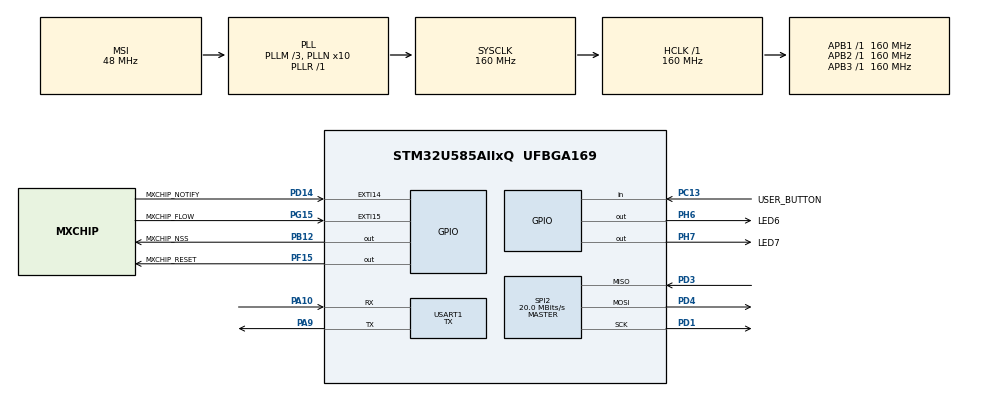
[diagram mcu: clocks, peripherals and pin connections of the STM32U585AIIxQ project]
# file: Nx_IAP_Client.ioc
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CORTEX_M33_NS.userName=CORTEX_M33
GPDMA1.DESTINC_GPDMACH4=DMA_DINC_INCREMENTED
GPDMA1.DIRECTION_GPDMACH5=DMA_MEMORY_TO_PERIPH
GPDMA1.IPHANDLE_GPDMACH4-SIMPLEREQUEST_GPDMACH4=__NULL
GPDMA1.IPHANDLE_GPDMACH5-SIMPLEREQUEST_GPDMACH5=__NULL
GPDMA1.PRIORITY_GPDMACH4=DMA_LOW_PRIORITY_HIGH_WEIGHT
GPDMA1.PRIORITY_GPDMACH5=DMA_LOW_PRIORITY_HIGH_WEIGHT
GPDMA1.REQUEST_GPDMACH4=GPDMA1_REQUEST_SPI2_RX
GPDMA1.REQUEST_GPDMACH5=GPDMA1_REQUEST_SPI2_TX
GPDMA1.SRCINC_GPDMACH5=DMA_SINC_INCREMENTED
GPDMA1.TRANSFERALLOCATEDPORTDEST_GPDMACH4=DMA_DEST_ALLOCATED_PORT1
GPDMA1.TRANSFERALLOCATEDPORTDEST_GPDMACH5=DMA_DEST_ALLOCATED_PORT1
GPDMA1.TRANSFERALLOCATEDPORTSRC_GPDMACH4=DMA_SRC_ALLOCATED_PORT0
GPDMA1.TRANSFERALLOCATEDPORTSRC_GPDMACH5=DMA_SRC_ALLOCATED_PORT0
Mcu.Family=STM32U5
Mcu.Name=STM32U585AIIxQ
Mcu.Package=UFBGA169
NETXDUO.NX_APP_MEM_POOL_SIZE=(80 * 1024)
NETXDUO.NX_DHCP_THREAD_PRIORITY=(NETX_IP_THREAD_PRIORITY + 1)
NETXDUO.NX_DISABLE_LOOPBACK_INTERFACE=true
NETXDUO.NX_DRIVER_DEFERRED_PROCESSING=true
NETXDUO.NX_ENABLE_EXTENDED_NOTIFY_SUPPORT=true
NETXDUO.NX_IP_PERIODIC_RATE=1000
NETXDUO.NX_PHYSICAL_HEADER=44
NVIC.EXTI14_IRQn=true\:2\:0\:true\:false\:true\:false\:true\:true\:true
NVIC.EXTI15_IRQn=true\:2\:0\:true\:false\:true\:false\:true\:true\:true
NVIC.GPDMA1_Channel4_IRQn=true\:2\:0\:true\:false\:true\:true\:true\:true\:true
NVIC.GPDMA1_Channel5_IRQn=true\:2\:0\:true\:false\:true\:true\:true\:true\:true
NVIC.PriorityGroup=NVIC_PRIORITYGROUP_4
NVIC.SPI2_IRQn=true\:2\:0\:true\:false\:true\:false\:true\:true\:true
NVIC.TIM6_IRQn=true\:0\:0\:true\:false\:true\:false\:false\:true\:true
NVIC.TimeBase=TIM6_IRQn
NVIC.TimeBaseIP=TIM6
PA10.Mode=Asynchronous
PA10.Signal=USART1_RX
PA13\ (JTMS/SWDIO).Mode=Trace_Asynchronous_SW
PA13\ (JTMS/SWDIO).Signal=DEBUG_JTMS-SWDIO
PA14\ (JTCK/SWCLK).Mode=Trace_Asynchronous_SW
PA14\ (JTCK/SWCLK).Signal=DEBUG_JTCK-SWCLK
PA9.Mode=Asynchronous
PA9.Signal=USART1_TX
PB12.GPIO_Label=MXCHIP_NSS
PB12.GPIO_Speed=GPIO_SPEED_FREQ_HIGH
PB12.PinState=GPIO_PIN_SET
PB12.Signal=GPIO_Output
PB3\ (JTDO/TRACESWO).Mode=Trace_Asynchronous_SW
PB3\ (JTDO/TRACESWO).Signal=DEBUG_JTDO-SWO
PC13.GPIO_Label=USER_BUTTON
PC13.Signal=GPIO_Input
PD1.GPIO_Speed=GPIO_SPEED_FREQ_HIGH
PD1.Mode=Full_Duplex_Master
PD1.Signal=SPI2_SCK
PD14.GPIO_Label=MXCHIP_NOTIFY
PD14.Signal=GPXTI14
PD3.GPIO_Speed=GPIO_SPEED_FREQ_HIGH
PD3.Mode=Full_Duplex_Master
PD3.Signal=SPI2_MISO
PD4.GPIO_Speed=GPIO_SPEED_FREQ_HIGH
PD4.Mode=Full_Duplex_Master
PD4.Signal=SPI2_MOSI
PF15.GPIO_Label=MXCHIP_RESET
PF15.Signal=GPIO_Output
PG15.GPIO_Label=MXCHIP_FLOW
PG15.GPIO_ModeDefaultEXTI=GPIO_MODE_IT_RISING
PG15.Signal=GPXTI15
PH6.GPIO_Label=LED6
PH6.GPIO_PuPd=GPIO_NOPULL
PH6.GPIO_Speed=GPIO_SPEED_FREQ_HIGH
PH6.PinState=GPIO_PIN_SET
PH6.Signal=GPIO_Output
PH7.GPIO_Label=LED7
PH7.GPIO_PuPd=GPIO_NOPULL
PH7.GPIO_Speed=GPIO_SPEED_FREQ_HIGH
PH7.PinState=GPIO_PIN_SET
PH7.Signal=GPIO_Output
PWR.PowerMode=PWR_SMPS_SUPPLY
ProjectManager.HeapSize=0x2000
ProjectManager.StackSize=0x2000
ProjectManager.TargetToolchain=EWARM V8.50
RCC.ADCFreq_Value=16000000
RCC.AHBFreq_Value=160000000
RCC.APB1Freq_Value=160000000
RCC.APB1TimFreq_Value=160000000
RCC.APB2Freq_Value=160000000
RCC.APB2TimFreq_Value=160000000
RCC.APB3Freq_Value=160000000
RCC.CortexFreq_Value=160000000
RCC.DACCLockSelectionVirtual=RCC_DAC1CLKSOURCE_LSI
RCC.EPOD_VALUE=48000000
RCC.HCLKFreq_Value=160000000
RCC.HSE_VALUE=16000000
RCC.HSI48_VALUE=48000000
RCC.HSI_VALUE=16000000
RCC.LSE_VALUE=32768
RCC.LSIDIV_VALUE=32000
RCC.MSIClockRange=RCC_MSIRANGE_0
RCC.MSI_VALUE=48000000
RCC.PLL1R=1
RCC.PLLFRACN=0
RCC.PLLM=3
RCC.PLLN=10
RCC.SPI2CLockSelection=RCC_SPI2CLKSOURCE_PCLK1
RCC.SYSCLKFreq_VALUE=160000000
RCC.SYSCLKSource=RCC_SYSCLKSOURCE_PLLCLK
RCC.USBFreq_Value=48000000
RCC.VCOOutputFreq_Value=160000000
SPI2.BaudRatePrescaler=SPI_BAUDRATEPRESCALER_8
SPI2.CalculateBaudRate=20.0 MBits/s
SPI2.DataSize=SPI_DATASIZE_8BIT
SPI2.Direction=SPI_DIRECTION_2LINES
SPI2.Mode=SPI_MODE_MASTER
SPI2.NSSPMode=SPI_NSS_PULSE_DISABLE
SPI2.VirtualType=VM_MASTER
THREADX.TX_APP_MEM_POOL_SIZE=(2 * 1024)
THREADX.TX_MINIMUM_STACK=400
THREADX.TX_TIMER_TICKS_PER_SECOND=1000
USART1.Mode=MODE_TX
USART1.VirtualMode-Asynchronous=VM_ASYNC
VP_GPDMA1_VS_GPDMACH4.Mode=SIMPLEREQUEST_GPDMACH4
VP_GPDMA1_VS_GPDMACH5.Mode=SIMPLEREQUEST_GPDMACH5
VP_ICACHE_VS_ICACHE.Mode=DirectMappedCache
VP_LPBAMQUEUE_VS_QUEUE.Mode=QUEUEMODE
VP_LPBAM_VS_SIG1.Mode=SmartRun
VP_LPBAM_VS_SIG4.Mode=LPDMA1
VP_NETXDUO_VS_AddonsOoDHCP.Mode=Addons_DHCP_Client
VP_NETXDUO_VS_NXOoCore.Mode=NX_Core
VP_PWR_VS_DBSignals.Mode=DisableDeadBatterySignals
VP_PWR_VS_LPOM.Mode=PowerOptimisation
VP_PWR_VS_SECSignals.Mode=Security/Privilege
VP_RNG_VS_RNG.Mode=RNG_Activate
VP_SYS_VS_tim6.Mode=TIM6
VP_THREADX_VS_RTOSJjThreadXJjCoreJjDefault.Mode=Core_Default
board=custom

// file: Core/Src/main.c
/* USER CODE BEGIN Header */
/**
  ******************************************************************************
  * @file           : main.c
  * @brief          : Main program body
  ******************************************************************************
  * @attention
  *
  * Copyright (c) 2022 STMicroelectronics.
  * All rights reserved.
  *
  * This software is licensed under terms that can be found in the LICENSE file
  * in the root directory of this software component.
  * If no LICENSE file comes with this software, it is provided AS-IS.
  *
  ******************************************************************************
  */
/* USER CODE END Header */
#include "app_threadx.h"
#include "main.h"

/* USER CODE BEGIN Includes */
#include <stdio.h>
#include <stdlib.h>
#include <string.h>
#include <stdint.h>
#include <inttypes.h>
#include "msg.h"
#include "flash_if.h"
#if defined(__ICCARM__)
#include <LowLevelIOInterface.h>
#endif /* (__ICCARM__) */

#include "nx_driver_emw3080.h"

#include "io_pattern/mx_wifi_io.h"
/* USER CODE END Includes */

RNG_HandleTypeDef hrng;

SPI_HandleTypeDef hspi2;
DMA_HandleTypeDef handle_GPDMA1_Channel5;
DMA_HandleTypeDef handle_GPDMA1_Channel4;

UART_HandleTypeDef huart1;

/* USER CODE BEGIN PV */
typedef void (*pFunction)(void);
pFunction Jump_To_Application;
uint32_t JumpAddress;
/* USER CODE END PV */

void SystemClock_Config(void);
static void SystemPower_Config(void);
static void MX_GPIO_Init(void);
static void MX_GPDMA1_Init(void);
static void MX_ICACHE_Init(void);
static void MX_USART1_UART_Init(void);
static void MX_SPI2_Init(void);
static void MX_RNG_Init(void);

int main(void)
{

  /* MCU Configuration--------------------------------------------------------*/

  /* Reset of all peripherals, Initializes the Flash interface and the Systick. */
  HAL_Init();

  /* Configure the System Power */
  SystemPower_Config();

  /* Configure the system clock */
  SystemClock_Config();

  /* Initialize all configured peripherals */
  MX_GPIO_Init();
  MX_GPDMA1_Init();
  MX_ICACHE_Init();
  MX_USART1_UART_Init();
  MX_SPI2_Init();
  MX_RNG_Init();
  /* USER CODE BEGIN 2 */
  {
    {
      char welcome[] = "Welcome\n";
      uint16_t welcome_size = (uint16_t)strlen(welcome);
      HAL_UART_Transmit(&huart1, (uint8_t*)welcome, welcome_size, 0xFFFF);
    }
  }

  /* Force no buffer for the printf() usage. */
  setbuf(stdout, NULL);

  {
    char the_compiler[100] = {0};

#if defined(__GNUC__)
    strcat(the_compiler, " __GNUC__");
#endif /* __GNUC__ */
#if defined(__clang__)
    strcat(the_compiler, " __clang__");
#endif /* __clang__ */
#if defined(__ICCARM__)
    strcat(the_compiler, " __ICCARM__");
#endif /* __ICCARM__ */
#if defined(__ARMCC_VERSION)
    strcat(the_compiler, " __ARMCC_VERSION ");
    sprintf(&the_compiler[strlen(the_compiler)], "(%d)", __ARMCC_VERSION);
#endif /* __ARMCC_VERSION */
#if defined(__MICROLIB)
    strcat(the_compiler, " __MICROLIB");
#endif /* __MICROLIB */

    {
      const uint32_t start_counting = HAL_GetTick();
      static __IO uint32_t count = 0;
      for (__IO uint32_t i = 0; i < 1600000; i++)
      {
        count++;
      }
      {
        const uint32_t end_counting = HAL_GetTick();
        printf("\n[%" PRIu32 "] main(): %s %s  (%s)   : %" PRIu32 " ms for %" PRIu32 " loops\n\n",
               end_counting, __DATE__, __TIME__, the_compiler, end_counting - start_counting, count);
      }
    }
  }

  {
    int random_number = hardware_rand();

    /* Initialize the seed of the stdlib rand() software implementation. */
    srand((unsigned)random_number);
    printf("rand() seeded by %" PRId32 " returned %" PRId32 "\n\n", (int32_t)random_number, (int32_t)rand());
  }

  /* LED6 and LED7 are already initialized. */
  /* Key Button is already initialized. */

  /* Test if Key Tamper-button on B-U585I-IOT02A Board is not pressed. */
  if (HAL_GPIO_ReadPin(USER_BUTTON_GPIO_Port, USER_BUTTON_Pin) == 0x00)
  {
    /* Key Tamper -button not pressed: jump to user application. */

    /* Check if valid stack address (RAM address) then jump to user application. */
    const uint32_t stack_pointer = *(__IO uint32_t *)(USER_FLASH_START_ADDRESS);
    const uint32_t code_pointer  = *(__IO uint32_t *)(USER_FLASH_START_ADDRESS + 4);
    if ((stack_pointer & 0x2FFFE000) == 0x20002000)
    {
      /* Jump to the user application (its Reset_Handler) */
      JumpAddress = code_pointer;
      Jump_To_Application = (pFunction) JumpAddress;

      printf("sp: 0x%" PRIX32 " pc: 0x%" PRIX32 "\n", stack_pointer, code_pointer);

      /* Vector Table Relocation in Internal FLASH */
      SCB->VTOR = USER_FLASH_START_ADDRESS;

      /* Initialize user application's Stack Pointer */
      __set_MSP(stack_pointer);
      Jump_To_Application();
    }
  }
  /* USER CODE END 2 */

  MX_ThreadX_Init();

  /* We should never get here as control is now taken by the scheduler */

  /* Infinite loop */
  while (1)
  {

  }
}

void SystemClock_Config(void)
{
  RCC_OscInitTypeDef RCC_OscInitStruct = {0};
  RCC_ClkInitTypeDef RCC_ClkInitStruct = {0};

  /** Configure the main internal regulator output voltage
  */
  if (HAL_PWREx_ControlVoltageScaling(PWR_REGULATOR_VOLTAGE_SCALE1) != HAL_OK)
  {
    Error_Handler();
  }

  /** Initializes the CPU, AHB and APB buses clocks
  */
  RCC_OscInitStruct.OscillatorType = RCC_OSCILLATORTYPE_HSI48|RCC_OSCILLATORTYPE_MSI;
  RCC_OscInitStruct.HSI48State = RCC_HSI48_ON;
  RCC_OscInitStruct.MSIState = RCC_MSI_ON;
  RCC_OscInitStruct.MSICalibrationValue = RCC_MSICALIBRATION_DEFAULT;
  RCC_OscInitStruct.MSIClockRange = RCC_MSIRANGE_0;
  RCC_OscInitStruct.PLL.PLLState = RCC_PLL_ON;
  RCC_OscInitStruct.PLL.PLLSource = RCC_PLLSOURCE_MSI;
  RCC_OscInitStruct.PLL.PLLMBOOST = RCC_PLLMBOOST_DIV4;
  RCC_OscInitStruct.PLL.PLLM = 3;
  RCC_OscInitStruct.PLL.PLLN = 10;
  RCC_OscInitStruct.PLL.PLLP = 2;
  RCC_OscInitStruct.PLL.PLLQ = 2;
  RCC_OscInitStruct.PLL.PLLR = 1;
  RCC_OscInitStruct.PLL.PLLRGE = RCC_PLLVCIRANGE_1;
  RCC_OscInitStruct.PLL.PLLFRACN = 0;
  if (HAL_RCC_OscConfig(&RCC_OscInitStruct) != HAL_OK)
  {
    Error_Handler();
  }

  /** Initializes the CPU, AHB and APB buses clocks
  */
  RCC_ClkInitStruct.ClockType = RCC_CLOCKTYPE_HCLK|RCC_CLOCKTYPE_SYSCLK
                              |RCC_CLOCKTYPE_PCLK1|RCC_CLOCKTYPE_PCLK2
                              |RCC_CLOCKTYPE_PCLK3;
  RCC_ClkInitStruct.SYSCLKSource = RCC_SYSCLKSOURCE_PLLCLK;
  RCC_ClkInitStruct.AHBCLKDivider = RCC_SYSCLK_DIV1;
  RCC_ClkInitStruct.APB1CLKDivider = RCC_HCLK_DIV1;
  RCC_ClkInitStruct.APB2CLKDivider = RCC_HCLK_DIV1;
  RCC_ClkInitStruct.APB3CLKDivider = RCC_HCLK_DIV1;

  if (HAL_RCC_ClockConfig(&RCC_ClkInitStruct, FLASH_LATENCY_4) != HAL_OK)
  {
    Error_Handler();
  }
}

/**
  * @brief Power Configuration
  * @retval None
  */
static void SystemPower_Config(void)
{
  HAL_PWREx_EnableVddIO2();

  /*
   * Disable the internal Pull-Up in Dead Battery pins of UCPD peripheral
   */
  HAL_PWREx_DisableUCPDDeadBattery();

  /*
   * Switch to SMPS regulator instead of LDO
   */
  if (HAL_PWREx_ConfigSupply(PWR_SMPS_SUPPLY) != HAL_OK)
  {
    Error_Handler();
  }
}

static void MX_GPDMA1_Init(void)
{

  /* Peripheral clock enable */
  __HAL_RCC_GPDMA1_CLK_ENABLE();

  /* GPDMA1 interrupt Init */
    HAL_NVIC_SetPriority(GPDMA1_Channel4_IRQn, 2, 0);
    HAL_NVIC_EnableIRQ(GPDMA1_Channel4_IRQn);
    HAL_NVIC_SetPriority(GPDMA1_Channel5_IRQn, 2, 0);
    HAL_NVIC_EnableIRQ(GPDMA1_Channel5_IRQn);

}

static void MX_ICACHE_Init(void)
{

  /** Enable instruction cache in 1-way (direct mapped cache)
  */
  if (HAL_ICACHE_ConfigAssociativityMode(ICACHE_1WAY) != HAL_OK)
  {
    Error_Handler();
  }
  if (HAL_ICACHE_Enable() != HAL_OK)
  {
    Error_Handler();
  }

}

static void MX_RNG_Init(void)
{

  hrng.Instance = RNG;
  hrng.Init.ClockErrorDetection = RNG_CED_ENABLE;
  if (HAL_RNG_Init(&hrng) != HAL_OK)
  {
    Error_Handler();
  }

}

static void MX_SPI2_Init(void)
{

  SPI_AutonomousModeConfTypeDef HAL_SPI_AutonomousMode_Cfg_Struct = {0};

  /* SPI2 parameter configuration*/
  hspi2.Instance = SPI2;
  hspi2.Init.Mode = SPI_MODE_MASTER;
  hspi2.Init.Direction = SPI_DIRECTION_2LINES;
  hspi2.Init.DataSize = SPI_DATASIZE_8BIT;
  hspi2.Init.CLKPolarity = SPI_POLARITY_LOW;
  hspi2.Init.CLKPhase = SPI_PHASE_1EDGE;
  hspi2.Init.NSS = SPI_NSS_SOFT;
  hspi2.Init.BaudRatePrescaler = SPI_BAUDRATEPRESCALER_8;
  hspi2.Init.FirstBit = SPI_FIRSTBIT_MSB;
  hspi2.Init.TIMode = SPI_TIMODE_DISABLE;
  hspi2.Init.CRCCalculation = SPI_CRCCALCULATION_DISABLE;
  hspi2.Init.CRCPolynomial = 0x7;
  hspi2.Init.NSSPMode = SPI_NSS_PULSE_DISABLE;
  hspi2.Init.NSSPolarity = SPI_NSS_POLARITY_LOW;
  hspi2.Init.FifoThreshold = SPI_FIFO_THRESHOLD_01DATA;
  hspi2.Init.MasterSSIdleness = SPI_MASTER_SS_IDLENESS_00CYCLE;
  hspi2.Init.MasterInterDataIdleness = SPI_MASTER_INTERDATA_IDLENESS_00CYCLE;
  hspi2.Init.MasterReceiverAutoSusp = SPI_MASTER_RX_AUTOSUSP_DISABLE;
  hspi2.Init.MasterKeepIOState = SPI_MASTER_KEEP_IO_STATE_DISABLE;
  hspi2.Init.IOSwap = SPI_IO_SWAP_DISABLE;
  hspi2.Init.ReadyMasterManagement = SPI_RDY_MASTER_MANAGEMENT_INTERNALLY;
  hspi2.Init.ReadyPolarity = SPI_RDY_POLARITY_HIGH;
  if (HAL_SPI_Init(&hspi2) != HAL_OK)
  {
    Error_Handler();
  }
  HAL_SPI_AutonomousMode_Cfg_Struct.TriggerState = SPI_AUTO_MODE_DISABLE;
  HAL_SPI_AutonomousMode_Cfg_Struct.TriggerSelection = SPI_GRP1_GPDMA_CH0_TCF_TRG;
  HAL_SPI_AutonomousMode_Cfg_Struct.TriggerPolarity = SPI_TRIG_POLARITY_RISING;
  if (HAL_SPIEx_SetConfigAutonomousMode(&hspi2, &HAL_SPI_AutonomousMode_Cfg_Struct) != HAL_OK)
  {
    Error_Handler();
  }

}

static void MX_USART1_UART_Init(void)
{

  huart1.Instance = USART1;
  huart1.Init.BaudRate = 115200;
  huart1.Init.WordLength = UART_WORDLENGTH_8B;
  huart1.Init.StopBits = UART_STOPBITS_1;
  huart1.Init.Parity = UART_PARITY_NONE;
  huart1.Init.Mode = UART_MODE_TX;
  huart1.Init.HwFlowCtl = UART_HWCONTROL_NONE;
  huart1.Init.OverSampling = UART_OVERSAMPLING_16;
  huart1.Init.OneBitSampling = UART_ONE_BIT_SAMPLE_DISABLE;
  huart1.Init.ClockPrescaler = UART_PRESCALER_DIV1;
  huart1.AdvancedInit.AdvFeatureInit = UART_ADVFEATURE_NO_INIT;
  if (HAL_UART_Init(&huart1) != HAL_OK)
  {
    Error_Handler();
  }
  if (HAL_UARTEx_SetTxFifoThreshold(&huart1, UART_TXFIFO_THRESHOLD_1_8) != HAL_OK)
  {
    Error_Handler();
  }
  if (HAL_UARTEx_SetRxFifoThreshold(&huart1, UART_RXFIFO_THRESHOLD_1_8) != HAL_OK)
  {
    Error_Handler();
  }
  if (HAL_UARTEx_DisableFifoMode(&huart1) != HAL_OK)
  {
    Error_Handler();
  }

}

static void MX_GPIO_Init(void)
{
  GPIO_InitTypeDef GPIO_InitStruct = {0};

  /* GPIO Ports Clock Enable */
  __HAL_RCC_GPIOG_CLK_ENABLE();
  __HAL_RCC_GPIOD_CLK_ENABLE();
  __HAL_RCC_GPIOA_CLK_ENABLE();
  __HAL_RCC_GPIOB_CLK_ENABLE();
  __HAL_RCC_GPIOC_CLK_ENABLE();
  __HAL_RCC_GPIOH_CLK_ENABLE();
  __HAL_RCC_GPIOF_CLK_ENABLE();

  /*Configure GPIO pin Output Level */
  HAL_GPIO_WritePin(GPIOH, LED6_Pin|LED7_Pin, GPIO_PIN_SET);

  /*Configure GPIO pin Output Level */
  HAL_GPIO_WritePin(MXCHIP_NSS_GPIO_Port, MXCHIP_NSS_Pin, GPIO_PIN_SET);

  /*Configure GPIO pin Output Level */
  HAL_GPIO_WritePin(MXCHIP_RESET_GPIO_Port, MXCHIP_RESET_Pin, GPIO_PIN_RESET);

  /*Configure GPIO pin : MXCHIP_FLOW_Pin */
  GPIO_InitStruct.Pin = MXCHIP_FLOW_Pin;
  GPIO_InitStruct.Mode = GPIO_MODE_IT_RISING;
  GPIO_InitStruct.Pull = GPIO_NOPULL;
  HAL_GPIO_Init(MXCHIP_FLOW_GPIO_Port, &GPIO_InitStruct);

  /*Configure GPIO pin : USER_BUTTON_Pin */
  GPIO_InitStruct.Pin = USER_BUTTON_Pin;
  GPIO_InitStruct.Mode = GPIO_MODE_INPUT;
  GPIO_InitStruct.Pull = GPIO_NOPULL;
  HAL_GPIO_Init(USER_BUTTON_GPIO_Port, &GPIO_InitStruct);

  /*Configure GPIO pins : LED6_Pin LED7_Pin */
  GPIO_InitStruct.Pin = LED6_Pin|LED7_Pin;
  GPIO_InitStruct.Mode = GPIO_MODE_OUTPUT_PP;
  GPIO_InitStruct.Pull = GPIO_NOPULL;
  GPIO_InitStruct.Speed = GPIO_SPEED_FREQ_HIGH;
  HAL_GPIO_Init(GPIOH, &GPIO_InitStruct);

  /*Configure GPIO pin : MXCHIP_NOTIFY_Pin */
  GPIO_InitStruct.Pin = MXCHIP_NOTIFY_Pin;
  GPIO_InitStruct.Mode = GPIO_MODE_IT_RISING;
  GPIO_InitStruct.Pull = GPIO_NOPULL;
  HAL_GPIO_Init(MXCHIP_NOTIFY_GPIO_Port, &GPIO_InitStruct);

  /*Configure GPIO pin : MXCHIP_NSS_Pin */
  GPIO_InitStruct.Pin = MXCHIP_NSS_Pin;
  GPIO_InitStruct.Mode = GPIO_MODE_OUTPUT_PP;
  GPIO_InitStruct.Pull = GPIO_NOPULL;
  GPIO_InitStruct.Speed = GPIO_SPEED_FREQ_HIGH;
  HAL_GPIO_Init(MXCHIP_NSS_GPIO_Port, &GPIO_InitStruct);

  /*Configure GPIO pin : MXCHIP_RESET_Pin */
  GPIO_InitStruct.Pin = MXCHIP_RESET_Pin;
  GPIO_InitStruct.Mode = GPIO_MODE_OUTPUT_PP;
  GPIO_InitStruct.Pull = GPIO_NOPULL;
  GPIO_InitStruct.Speed = GPIO_SPEED_FREQ_LOW;
  HAL_GPIO_Init(MXCHIP_RESET_GPIO_Port, &GPIO_InitStruct);

  /* EXTI interrupt init*/
  HAL_NVIC_SetPriority(EXTI14_IRQn, 2, 0);
  HAL_NVIC_EnableIRQ(EXTI14_IRQn);

  HAL_NVIC_SetPriority(EXTI15_IRQn, 2, 0);
  HAL_NVIC_EnableIRQ(EXTI15_IRQn);

}

/* USER CODE BEGIN 4 */
#if (defined(__GNUC__) && !defined(__ARMCC_VERSION))
/**
  * With GCC,
  * small printf (option LD Linker->Libraries->Small printf set to 'Yes')
  * calls __io_putchar()
  */
#define PUTCHAR_PROTOTYPE int __io_putchar(int ch)

#elif defined(__ICCARM__)
int iar_fputc(int ch);
#define PUTCHAR_PROTOTYPE int iar_fputc(int ch)

#elif defined(__ARMCC_VERSION)
#ifdef __MICROLIB
#define PUTCHAR_PROTOTYPE int fputc(int ch, FILE *f)
#else
int stdout_putchar(int ch);
#define PUTCHAR_PROTOTYPE int stdout_putchar(int ch)
int stderr_putchar(int ch) { return stdout_putchar(ch); }
void ttywrch(int ch) { stdout_putchar(ch); }
#endif /* __MICROLIB */
#endif /* __GNUC__ */

/**
  * @brief  Retargets the C library printf function to the USART.
  * @param  None
  * @retval None
  */
PUTCHAR_PROTOTYPE
{
  /* Write a character to the USART1. */
  HAL_UART_Transmit(&huart1, (uint8_t *)&ch, 1, 0xFFFF);

  return ch;
}

#if defined(__ICCARM__)
size_t __write(int file, unsigned char const *ptr, size_t len)
{
  size_t idx;
  unsigned char const *pdata = ptr;

  for (idx = 0; idx < len; idx++)
  {
    iar_fputc((int)*pdata);
    pdata++;
  }
  return len;
}
#endif /* __ICCARM__ */

void blink_led(LedStatus_TypeDef status)
{
  /* LED6: LED6 : RED. */
  uint16_t led_pin = LED6_Pin;
  GPIO_TypeDef *led_gpio_port = LED6_GPIO_Port;
  uint32_t delay = 300;

  if (LED_STATUS_OK == status)
  {
    /* LED7 : YELLOW. */
    led_pin = LED7_Pin;
    led_gpio_port = LED7_GPIO_Port;
    delay = 100;
  }

  /* Keep blinking corresponding LED. */
  while (1)
  {
    HAL_GPIO_TogglePin(led_gpio_port, led_pin);
    HAL_Delay(delay);
  }
}

/**
  * @brief Rx Transfer completed callback.
  * @param  hspi: pointer to a SPI_HandleTypeDef structure that contains
  *               the configuration information for the SPI module.
  * @retval None
  */
void HAL_SPI_RxCpltCallback(SPI_HandleTypeDef *hspi)
{
  if (hspi == &MXCHIP_SPI)
  {
    HAL_SPI_TransferCallback(hspi);
  }
}

/**
  * @brief Tx Transfer completed callback.
  * @param  hspi: pointer to a SPI_HandleTypeDef structure that contains
  *               the configuration information for the SPI module.
  * @retval None
  */
void HAL_SPI_TxCpltCallback(SPI_HandleTypeDef *hspi)
{
  if (hspi == &MXCHIP_SPI)
  {
    HAL_SPI_TransferCallback(hspi);
  }
}

/**
  * @brief Tx and Rx Transfer completed callback.
  * @param  hspi: pointer to a SPI_HandleTypeDef structure that contains
  *               the configuration information for the SPI module.
  * @retval None
  */
void HAL_SPI_TxRxCpltCallback(SPI_HandleTypeDef *hspi)
{
  if (hspi == &MXCHIP_SPI)
  {
    HAL_SPI_TransferCallback(hspi);
  }
}

/**
  * @brief  EXTI line rising detection callback.
  * @param  GPIO_Pin: Specifies the port pin connected to corresponding EXTI line.
  * @retval None
  */
void HAL_GPIO_EXTI_Rising_Callback(uint16_t GPIO_Pin)
{
  switch (GPIO_Pin)
  {
    case (MXCHIP_FLOW_Pin):
      mxchip_WIFI_ISR(MXCHIP_FLOW_Pin);
      nx_driver_emw3080_interrupt();
      break;

    case (MXCHIP_NOTIFY_Pin):
      mxchip_WIFI_ISR(MXCHIP_NOTIFY_Pin);
      nx_driver_emw3080_interrupt();
      break;
    default:
      break;
  }
}

/* Alternative to HAL_RNG_GenerateRandomNumber(). */
/* MX_RNG_Init() MUST be called before usage of this function. */
int hardware_rand(void)
{
  /* Wait for data ready. */
  while ((hrng.Instance->SR & RNG_SR_DRDY) == 0);

  /* Return the random number. */
  return ((int)hrng.Instance->DR);
}
/* USER CODE END 4 */

void HAL_TIM_PeriodElapsedCallback(TIM_HandleTypeDef *htim)
{
  if (htim->Instance == TIM6)
  {
    HAL_IncTick();
  }
}

void Error_Handler(void)
{
  /* USER CODE BEGIN Error_Handler_Debug */
  /* User may add here some code to deal with this error */
  printf("\n\nError_Handler()>\n");

  while (1)
  {
  }
  /* USER CODE END Error_Handler_Debug */
}
#ifdef USE_FULL_ASSERT
/**
  * @brief  Reports the name of the source file and the source line number
  *         where the assert_param error has occurred.
  * @param  file: pointer to the source file name
  * @param  line: assert_param error line source number
  * @retval None
  */
void assert_failed(uint8_t *file, uint32_t line)
{
  /* USER CODE BEGIN 6 */
  printf("Wrong parameters value: file %s on line %" PRIu32 "\n", file, line);

  /* Infinite loop */
  while (1)
  {
  }
  /* USER CODE END 6 */
}
#endif /* USE_FULL_ASSERT */
